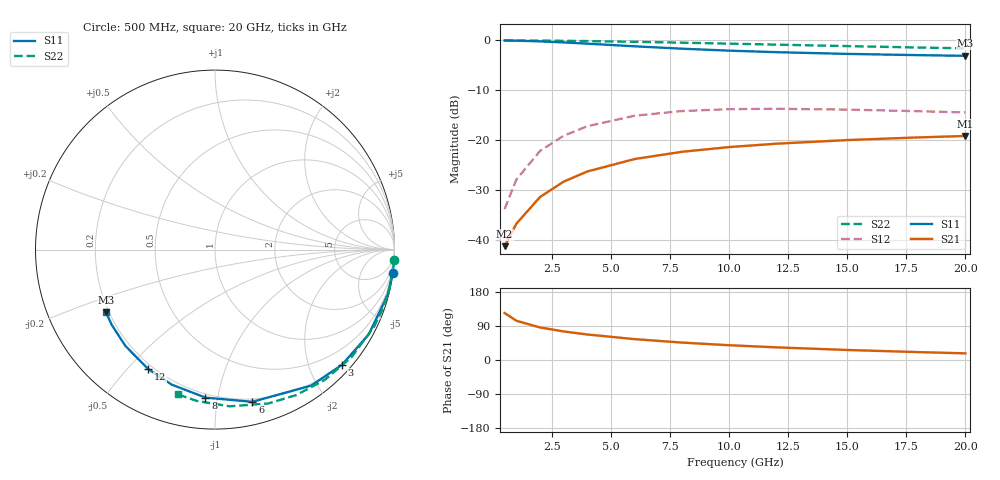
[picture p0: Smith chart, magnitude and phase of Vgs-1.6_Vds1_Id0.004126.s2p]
# Hz S RI R 50
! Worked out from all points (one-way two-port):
!   12 points, 500 MHz to 20 GHz, reference 50 ohm
!   highest |S21| = -19.16 dB at 20 GHz (marker M1); lowest = -41.3 dB at 500 MHz (marker M2)
!   lowest |S11| = -3.1 dB at 20 GHz (marker M3), VSWR 5.69, Z = 9.4 - j12.9 ohm
!   |S11| at or under -10 dB: nowhere
!   |S22| runs from -1.6 to 0.0 dB; largest |S21 - S12| = 0.14
!   S11 on the Smith chart (normalised r, x): 500 MHz: 0, -16; 3 GHz: 0.18, -2.58; 6 GHz: 0.18, -1.26; 8 GHz: 0.18, -0.92; 12 GHz: 0.18, -0.57; 20 GHz: 0.19, -0.26
5e8  0.9904 -0.1277  -0.00483 0.00717  0.00196 0.0202  0.9977 -0.0574
1e9  0.962 -0.2513  -0.0034 0.0141  0.00769 0.0396  0.9921 -0.1143
2e9  0.857 -0.4721  0.00195 0.0268  0.0287 0.0724  0.9697 -0.2258
3e9  0.7069 -0.6424  0.0097 0.0371  0.0581 0.0943  0.9337 -0.3317
4e9  0.5364 -0.7574  0.0187 0.0447  0.0902 0.1043  0.8855 -0.4304
6e9  0.2079 -0.848  0.037 0.053  0.1468 0.0964  0.7611 -0.5989
8e9  -0.053 -0.8246  0.0531 0.0549  0.1834 0.0687  0.612 -0.7256
1e10  -0.241 -0.7523  0.0662 0.0536  0.2012 0.0366  0.4538 -0.81
1.2e10  -0.3728 -0.6651  0.077 0.0506  0.2062 0.00734  0.2975 -0.8573
1.5e10  -0.5002 -0.5355  0.0897 0.0446  0.2006 -0.027  0.0819 -0.8732
1.8e10  -0.5753 -0.4193  0.0995 0.0379  0.1884 -0.0504  -0.1014 -0.8432
2e10  -0.6073 -0.35  0.105 0.0332  0.1794 -0.0614  -0.2048 -0.807
